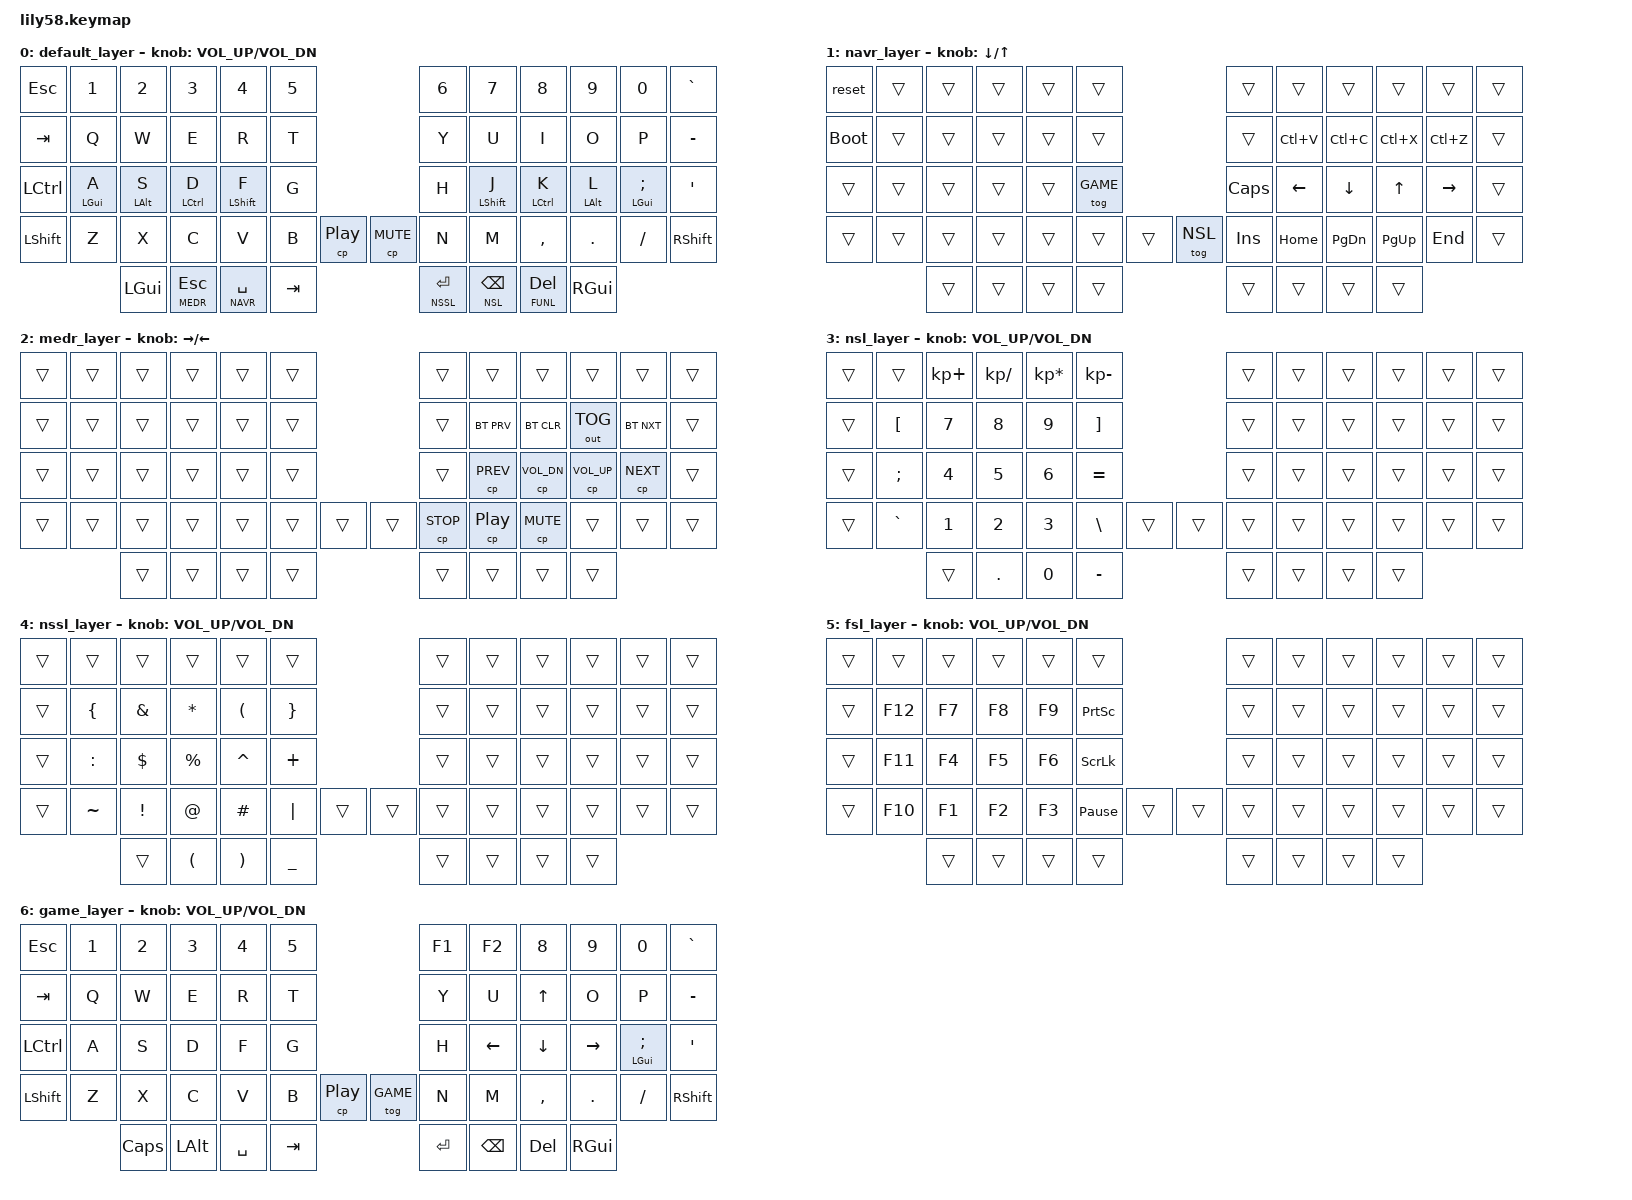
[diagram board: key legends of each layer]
#include <behaviors.dtsi>
#include <dt-bindings/zmk/keys.h>
#include <dt-bindings/zmk/bt.h>
#include <dt-bindings/zmk/modifiers.h>
#include <dt-bindings/zmk/outputs.h>

#define DEFAULT	0
#define NAVR	1
#define MEDR	2
#define NSL		3
#define NSSL	4
#define FUNL	5
#define GAME	6

/ {
	behaviors {
        hm: homerow_mods {
            compatible = "zmk,behavior-hold-tap";
            label = "HOMEROW_MODS";
            #binding-cells = <2>;
			tapping_term_ms = <200>;
            flavor = "tap-preferred";
            bindings = <&kp>, <&kp>;
        };
    };

	keymap {
		compatible = "zmk,keymap";

		default_layer {
			bindings = <
&kp ESC		&kp N1		&kp N2		&kp N3 			&kp N4			&kp N5                   		&kp N6 			&kp N7 			&kp N8			&kp N9 		&kp N0 			&kp GRAVE
&kp TAB		&kp Q		&kp W		&kp E     		&kp R			&kp T                        	&kp Y     		&kp U     		&kp I			&kp O     	&kp P     		&kp MINUS
&kp LCTRL	&hm LGUI A	&hm LALT S	&hm LCTRL D		&hm LSHFT F		&kp G           				&kp H     		&hm LSHFT J  	&hm LCTRL K		&hm LALT L	&hm LGUI SEMI	&kp SQT
&kp LSHFT	&kp Z		&kp X		&kp C     		&kp V			&kp B	&cp C_PP	&cp C_MUTE	&kp N     		&kp M			&kp COMMA		&kp DOT   	&kp FSLH  		&kp RSHFT
						&kp LGUI  	&lt MEDR ESC  	&lt NAVR SPACE	&kp TAB							&lt NSSL RET	&lt NSL BSPC	&lt FUNL DEL	&kp RGUI
			>;

			sensor-bindings = <&inc_dec_cp C_VOL_UP C_VOL_DN>;
		};

		navr_layer {
			bindings = <
&reset		&trans	&trans	&trans	&trans	&trans                  		&trans		&trans		&trans		&trans		&trans		&trans 
&bootloader	&trans	&trans	&trans	&trans	&trans                  		&trans		&kp LC(V)	&kp LC(C)	&kp LC(X)	&kp LC(Z)	&trans
&trans		&trans	&trans	&trans	&trans	&tog GAME               		&kp CAPS	&kp LEFT    &kp DOWN	&kp UP    	&kp RIGHT   &trans
&trans		&trans	&trans	&trans	&trans	&trans		&trans	&tog NSL	&kp INS		&kp HOME	&kp PG_DN   &kp PG_UP  	&kp END     &trans
					&trans	&trans	&trans	&trans  						&trans  	&trans		&trans      &trans
			>;

			sensor-bindings = <&inc_dec_kp DOWN UP>;
		};

		medr_layer {
			bindings = <
&trans	&trans	&trans	&trans	&trans	&trans                  &trans		&trans     	&trans     		&trans     	 	&trans			&trans
&trans	&trans	&trans	&trans	&trans	&trans                  &trans		&bt BT_PRV	&bt BT_CLR		&out OUT_TOG	&bt BT_NXT		&trans
&trans	&trans	&trans	&trans	&trans	&trans                  &trans		&cp C_PREV 	&cp C_VOL_DN 	&cp C_VOL_UP 	&cp C_NEXT		&trans
&trans	&trans	&trans	&trans	&trans	&trans  &trans	&trans	&cp C_STOP	&cp C_PP 	&cp C_MUTE 		&trans			&trans			&trans
            	&trans	&trans	&trans	&trans  				&trans  	&trans		&trans     		&trans
			>;

			sensor-bindings = <&inc_dec_kp RIGHT LEFT>;
		};

		nsl_layer {
			bindings = <
&trans   &trans		&kp KP_PLUS	&kp KP_SLASH	&kp KP_MULTIPLY &kp KP_MINUS				&trans	&trans	&trans	&trans	&trans	&trans
&trans   &kp LBKT  	&kp N7 		&kp N8 			&kp N9 			&kp RBKT					&trans	&trans	&trans	&trans	&trans	&trans
&trans   &kp SEMI  	&kp N4 		&kp N5 			&kp N6 			&kp EQUAL					&trans	&trans	&trans	&trans	&trans	&trans
&trans   &kp GRAVE  &kp N1 		&kp N2 			&kp N3 			&kp BSLH	&trans	&trans	&trans	&trans	&trans	&trans	&trans	&trans
                   	&trans		&kp DOT  		&kp N0 			&kp MINUS					&trans	&trans	&trans	&trans
			>;

			sensor-bindings = <&inc_dec_cp C_VOL_UP C_VOL_DN>;
		};
		
		nssl_layer {
			bindings = <
&trans   &trans		&trans   	&trans		&trans    	&trans                      &trans	&trans	&trans	&trans	&trans	&trans
&trans   &kp LBRC	&kp AMPS	&kp ASTRK	&kp LPAR	&kp RBRC                    &trans	&trans	&trans	&trans	&trans	&trans
&trans   &kp COLON	&kp DLLR	&kp PRCNT 	&kp CARET 	&kp PLUS                    &trans	&trans	&trans	&trans	&trans	&trans
&trans   &kp TILDE	&kp EXCL	&kp AT		&kp HASH	&kp PIPE	&trans	&trans	&trans	&trans	&trans	&trans	&trans	&trans
					&trans		&kp LPAR	&kp RPAR	&kp UNDER					&trans	&trans	&trans	&trans
			>;

			sensor-bindings = <&inc_dec_cp C_VOL_UP C_VOL_DN>;
		};
		
		fsl_layer {
			bindings = <
&trans   &trans		&trans	&trans	&trans	&trans							&trans	&trans	&trans	&trans	&trans	&trans
&trans   &kp F12	&kp F7	&kp F8	&kp F9	&kp PSCRN               		&trans	&trans	&trans	&trans	&trans	&trans
&trans   &kp F11  	&kp F4	&kp F5	&kp F6	&kp SLCK                		&trans	&trans	&trans	&trans	&trans	&trans
&trans   &kp F10  	&kp F1	&kp F2	&kp F3	&kp PAUSE_BREAK	&trans	&trans	&trans	&trans	&trans	&trans	&trans	&trans
                   	&trans	&trans	&trans	&trans							&trans	&trans	&trans	&trans
			>;

			sensor-bindings = <&inc_dec_cp C_VOL_UP C_VOL_DN>;
		};		

		game_layer {
			bindings = <
&kp ESC		&kp N1	&kp N2		&kp N3  	&kp N4		&kp N5                   		&kp F1	&kp F2 		&kp N8		&kp N9 		&kp N0 			&kp GRAVE
&kp TAB		&kp Q	&kp W		&kp E   	&kp R		&kp T                        	&kp Y	&kp U     	&kp UP		&kp O     	&kp P     		&kp MINUS
&kp LCTRL	&kp A	&kp S		&kp D		&kp F		&kp G           				&kp H	&kp LEFT 	&kp	DOWN	&kp RIGHT	&hm LGUI SEMI	&kp SQT
&kp LSHFT	&kp Z	&kp X		&kp C   	&kp V		&kp B	&cp C_PP	&tog GAME	&kp N   &kp M		&kp COMMA	&kp DOT   	&kp FSLH  		&kp RSHFT
					&kp CAPS  	&kp LALT  	&kp SPACE	&kp TAB							&kp RET	&kp BSPC	&kp DEL		&kp RGUI
			>;

			sensor-bindings = <&inc_dec_cp C_VOL_UP C_VOL_DN>;
		};

	};
};
